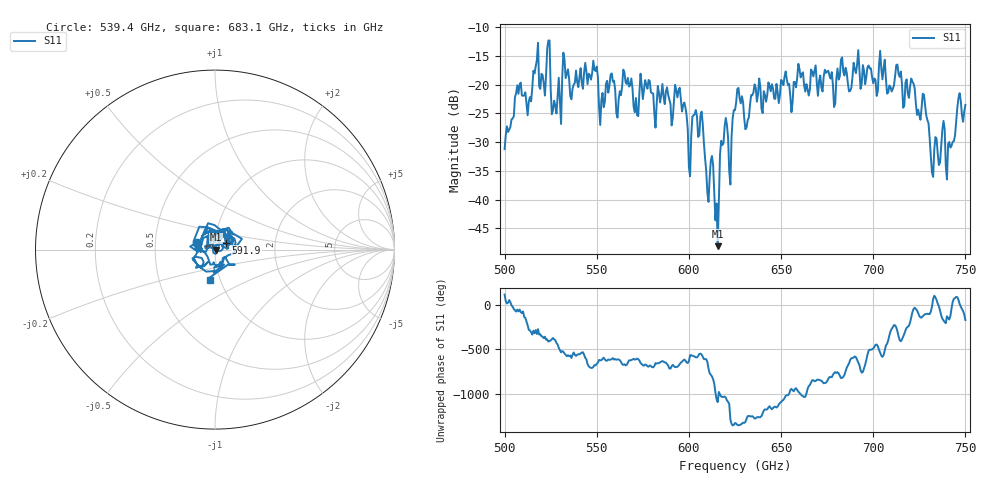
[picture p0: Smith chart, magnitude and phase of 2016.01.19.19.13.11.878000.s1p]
!Created with skrf (http://scikit-rf.org).
# GHz S RI R 50.0
!freq ReS11 ImS11
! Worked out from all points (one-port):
!   401 points, 500 GHz to 750 GHz, reference 50 ohm
!   lowest |S11| = -48.1 dB at 615.6 GHz (marker M1), VSWR 1.01, Z = 50.4 - j0.0847 ohm
!   |S11| at or under -10 dB: start of sweep to end of sweep
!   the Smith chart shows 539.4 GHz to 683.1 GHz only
!   S11 on the Smith chart (normalised r, x): 539.4 GHz: 0.82, +0.06; 591.9 GHz: 1.13, +0.09; 683.1 GHz: 0.89, -0.31
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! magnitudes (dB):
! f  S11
! 500 GHz  -31.2
! 507.5 GHz  -21.6
! 513.1 GHz  -22.9
! 516.9 GHz  -16.8
! 520.6 GHz  -18.3
! 523.8 GHz  -12.3
! 526.9 GHz  -22.8
! 531.2 GHz  -18.8
! 539.4 GHz  -19.5
! 562.5 GHz  -21.1
! 591.9 GHz  -22.7
! 593.8 GHz  -22.2
! 600 GHz  -34.4
! 603.1 GHz  -25.1
! 606.9 GHz  -24.7
! 610 GHz  -38.8
! 615.6 GHz  -48.1
! 618.8 GHz  -30.2
! 622.5 GHz  -37.4
! 625 GHz  -24.4
! 656.2 GHz  -23.1
! 683.1 GHz  -15.3
! 687.5 GHz  -21.1
! 690.6 GHz  -18.0
! 718.8 GHz  -21.5
! 728.1 GHz  -23.5
! 731.9 GHz  -35.3
! 750 GHz  -23.5
